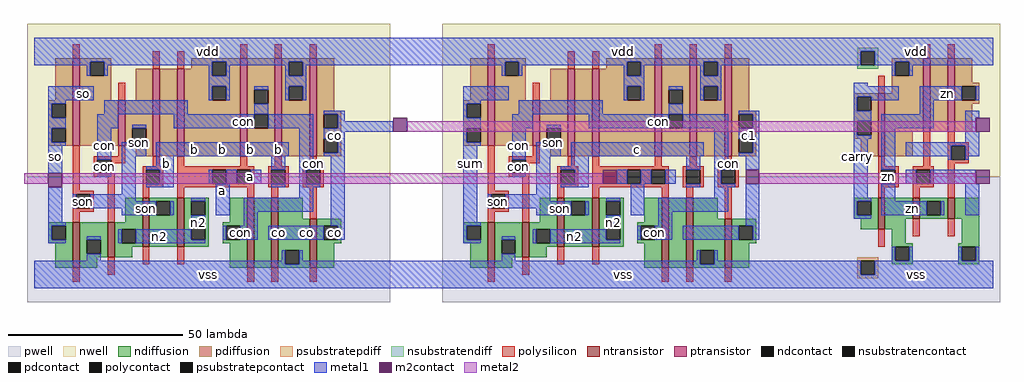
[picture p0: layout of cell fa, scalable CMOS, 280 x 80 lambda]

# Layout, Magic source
magic
tech scmos
<< pwell >>
rect 0 0 104 36
rect 119 0 279 36
<< nwell >>
rect 0 36 104 80
rect 119 36 279 80
<< polysilicon >>
rect 13 70 15 74
rect 36 67 38 72
rect 43 67 45 72
rect 61 70 63 74
rect 71 70 73 74
rect 81 70 83 74
rect 132 70 134 74
rect 26 58 28 63
rect 13 32 15 45
rect 26 42 28 45
rect 155 67 157 72
rect 162 67 164 72
rect 180 70 182 74
rect 190 70 192 74
rect 200 70 202 74
rect 145 58 147 63
rect 19 41 28 42
rect 19 37 20 41
rect 24 40 28 41
rect 24 37 25 40
rect 36 39 38 42
rect 43 39 45 42
rect 61 39 63 42
rect 71 39 73 42
rect 81 39 83 42
rect 19 36 25 37
rect 13 31 19 32
rect 13 27 14 31
rect 18 27 19 31
rect 13 26 19 27
rect 13 23 15 26
rect 23 23 25 36
rect 33 38 39 39
rect 33 34 34 38
rect 38 34 39 38
rect 33 33 39 34
rect 43 38 65 39
rect 43 34 53 38
rect 57 34 60 38
rect 64 34 65 38
rect 43 33 65 34
rect 69 38 75 39
rect 69 34 70 38
rect 74 34 75 38
rect 69 33 75 34
rect 79 38 85 39
rect 79 34 80 38
rect 84 34 85 38
rect 79 33 85 34
rect 33 30 35 33
rect 43 30 45 33
rect 63 30 65 33
rect 70 30 72 33
rect 13 6 15 10
rect 23 8 25 13
rect 33 11 35 16
rect 43 11 45 16
rect 81 24 83 33
rect 132 32 134 45
rect 145 42 147 45
rect 257 70 259 74
rect 264 70 266 74
rect 244 60 246 65
rect 138 41 147 42
rect 138 37 139 41
rect 143 40 147 41
rect 143 37 144 40
rect 155 39 157 42
rect 162 39 164 42
rect 180 39 182 42
rect 190 39 192 42
rect 200 39 202 42
rect 244 39 246 42
rect 257 39 259 49
rect 264 46 266 49
rect 264 45 270 46
rect 264 41 265 45
rect 269 41 270 45
rect 264 40 270 41
rect 138 36 144 37
rect 132 31 138 32
rect 132 27 133 31
rect 137 27 138 31
rect 132 26 138 27
rect 132 23 134 26
rect 142 23 144 36
rect 152 38 158 39
rect 152 34 153 38
rect 157 34 158 38
rect 152 33 158 34
rect 162 38 184 39
rect 162 34 172 38
rect 176 34 179 38
rect 183 34 184 38
rect 162 33 184 34
rect 188 38 194 39
rect 188 34 189 38
rect 193 34 194 38
rect 188 33 194 34
rect 198 38 204 39
rect 198 34 199 38
rect 203 34 204 38
rect 198 33 204 34
rect 244 38 250 39
rect 244 34 245 38
rect 249 34 250 38
rect 244 33 250 34
rect 254 38 260 39
rect 254 34 255 38
rect 259 34 260 38
rect 254 33 260 34
rect 152 30 154 33
rect 162 30 164 33
rect 182 30 184 33
rect 189 30 191 33
rect 63 6 65 10
rect 70 6 72 10
rect 81 6 83 10
rect 132 6 134 10
rect 142 8 144 13
rect 152 11 154 16
rect 162 11 164 16
rect 200 24 202 33
rect 244 30 246 33
rect 254 30 256 33
rect 264 30 266 40
rect 244 16 246 21
rect 254 19 256 24
rect 264 19 266 24
rect 182 6 184 10
rect 189 6 191 10
rect 200 6 202 10
<< ndiffusion >>
rect 28 23 33 30
rect 6 22 13 23
rect 6 18 7 22
rect 11 18 13 22
rect 6 17 13 18
rect 8 10 13 17
rect 15 18 23 23
rect 15 14 17 18
rect 21 14 23 18
rect 15 13 23 14
rect 25 21 33 23
rect 25 17 27 21
rect 31 17 33 21
rect 25 16 33 17
rect 35 29 43 30
rect 35 25 37 29
rect 41 25 43 29
rect 35 16 43 25
rect 45 29 52 30
rect 45 25 47 29
rect 51 25 52 29
rect 45 22 52 25
rect 58 23 63 30
rect 45 18 47 22
rect 51 18 52 22
rect 45 16 52 18
rect 56 22 63 23
rect 56 18 57 22
rect 61 18 63 22
rect 56 17 63 18
rect 25 13 30 16
rect 15 10 20 13
rect 58 10 63 17
rect 65 10 70 30
rect 72 24 79 30
rect 72 15 81 24
rect 72 11 74 15
rect 78 11 81 15
rect 72 10 81 11
rect 83 22 90 24
rect 147 23 152 30
rect 83 18 85 22
rect 89 18 90 22
rect 83 17 90 18
rect 125 22 132 23
rect 125 18 126 22
rect 130 18 132 22
rect 125 17 132 18
rect 83 10 88 17
rect 127 10 132 17
rect 134 18 142 23
rect 134 14 136 18
rect 140 14 142 18
rect 134 13 142 14
rect 144 21 152 23
rect 144 17 146 21
rect 150 17 152 21
rect 144 16 152 17
rect 154 29 162 30
rect 154 25 156 29
rect 160 25 162 29
rect 154 16 162 25
rect 164 29 171 30
rect 164 25 166 29
rect 170 25 171 29
rect 164 22 171 25
rect 177 23 182 30
rect 164 18 166 22
rect 170 18 171 22
rect 164 16 171 18
rect 175 22 182 23
rect 175 18 176 22
rect 180 18 182 22
rect 175 17 182 18
rect 144 13 149 16
rect 134 10 139 13
rect 177 10 182 17
rect 184 10 189 30
rect 191 24 198 30
rect 237 29 244 30
rect 237 25 238 29
rect 242 25 244 29
rect 237 24 244 25
rect 191 15 200 24
rect 191 11 193 15
rect 197 11 200 15
rect 191 10 200 11
rect 202 22 209 24
rect 202 18 204 22
rect 208 18 209 22
rect 239 21 244 24
rect 246 24 254 30
rect 256 29 264 30
rect 256 25 258 29
rect 262 25 264 29
rect 256 24 264 25
rect 266 24 273 30
rect 246 21 252 24
rect 202 17 209 18
rect 202 10 207 17
rect 248 17 252 21
rect 268 17 273 24
rect 248 16 254 17
rect 248 12 249 16
rect 253 12 254 16
rect 248 11 254 12
rect 267 16 273 17
rect 267 12 268 16
rect 272 12 273 16
rect 267 11 273 12
<< pdiffusion >>
rect 8 58 13 70
rect 6 57 13 58
rect 6 53 7 57
rect 11 53 13 57
rect 6 50 13 53
rect 6 46 7 50
rect 11 46 13 50
rect 6 45 13 46
rect 15 69 24 70
rect 15 65 18 69
rect 22 65 24 69
rect 47 69 61 70
rect 47 67 53 69
rect 15 58 24 65
rect 31 58 36 67
rect 15 45 26 58
rect 28 50 36 58
rect 28 46 30 50
rect 34 46 36 50
rect 28 45 36 46
rect 31 42 36 45
rect 38 42 43 67
rect 45 65 53 67
rect 57 65 61 69
rect 45 62 61 65
rect 45 58 53 62
rect 57 58 61 62
rect 45 42 61 58
rect 63 61 71 70
rect 63 57 65 61
rect 69 57 71 61
rect 63 54 71 57
rect 63 50 65 54
rect 69 50 71 54
rect 63 42 71 50
rect 73 69 81 70
rect 73 65 75 69
rect 79 65 81 69
rect 73 62 81 65
rect 73 58 75 62
rect 79 58 81 62
rect 73 42 81 58
rect 83 55 88 70
rect 127 58 132 70
rect 125 57 132 58
rect 83 54 90 55
rect 83 50 85 54
rect 89 50 90 54
rect 83 47 90 50
rect 83 43 85 47
rect 89 43 90 47
rect 125 53 126 57
rect 130 53 132 57
rect 125 50 132 53
rect 125 46 126 50
rect 130 46 132 50
rect 125 45 132 46
rect 134 69 143 70
rect 134 65 137 69
rect 141 65 143 69
rect 166 69 180 70
rect 166 67 172 69
rect 134 58 143 65
rect 150 58 155 67
rect 134 45 145 58
rect 147 50 155 58
rect 147 46 149 50
rect 153 46 155 50
rect 147 45 155 46
rect 83 42 90 43
rect 150 42 155 45
rect 157 42 162 67
rect 164 65 172 67
rect 176 65 180 69
rect 164 62 180 65
rect 164 58 172 62
rect 176 58 180 62
rect 164 42 180 58
rect 182 61 190 70
rect 182 57 184 61
rect 188 57 190 61
rect 182 54 190 57
rect 182 50 184 54
rect 188 50 190 54
rect 182 42 190 50
rect 192 69 200 70
rect 192 65 194 69
rect 198 65 200 69
rect 192 62 200 65
rect 192 58 194 62
rect 198 58 200 62
rect 192 42 200 58
rect 202 55 207 70
rect 248 69 257 70
rect 248 65 249 69
rect 253 65 257 69
rect 248 60 257 65
rect 237 59 244 60
rect 237 55 238 59
rect 242 55 244 59
rect 202 54 209 55
rect 202 50 204 54
rect 208 50 209 54
rect 202 47 209 50
rect 237 52 244 55
rect 237 48 238 52
rect 242 48 244 52
rect 237 47 244 48
rect 202 43 204 47
rect 208 43 209 47
rect 202 42 209 43
rect 239 42 244 47
rect 246 49 257 60
rect 259 49 264 70
rect 266 63 271 70
rect 266 62 273 63
rect 266 58 268 62
rect 272 58 273 62
rect 266 57 273 58
rect 266 49 271 57
rect 246 42 254 49
<< metal1 >>
rect 2 72 277 76
rect 2 69 239 72
rect 2 68 18 69
rect 17 65 18 68
rect 22 68 53 69
rect 22 65 23 68
rect 52 65 53 68
rect 57 68 75 69
rect 57 65 58 68
rect 52 62 58 65
rect 74 65 75 68
rect 79 68 137 69
rect 79 65 80 68
rect 136 65 137 68
rect 141 68 172 69
rect 141 65 142 68
rect 171 65 172 68
rect 176 68 194 69
rect 176 65 177 68
rect 74 62 80 65
rect 171 62 177 65
rect 193 65 194 68
rect 198 68 239 69
rect 243 69 277 72
rect 243 68 249 69
rect 198 65 199 68
rect 248 65 249 68
rect 253 68 277 69
rect 253 65 254 68
rect 193 62 199 65
rect 6 58 19 62
rect 52 58 53 62
rect 57 58 58 62
rect 65 61 69 62
rect 6 57 11 58
rect 6 53 7 57
rect 22 54 46 58
rect 74 58 75 62
rect 79 58 80 62
rect 125 58 138 62
rect 171 58 172 62
rect 176 58 177 62
rect 184 61 188 62
rect 65 54 69 57
rect 125 57 130 58
rect 85 54 91 55
rect 6 50 11 53
rect 6 46 7 50
rect 6 45 11 46
rect 20 50 26 54
rect 30 50 34 51
rect 42 50 65 54
rect 69 50 82 54
rect 6 37 10 45
rect 20 41 24 50
rect 20 36 24 37
rect 27 42 34 46
rect 37 42 75 46
rect 6 23 10 33
rect 27 31 31 42
rect 37 39 42 42
rect 34 38 42 39
rect 70 38 74 42
rect 38 34 42 38
rect 52 34 53 38
rect 57 34 60 38
rect 64 34 67 38
rect 34 33 42 34
rect 13 27 14 31
rect 18 29 31 31
rect 47 29 51 30
rect 18 27 37 29
rect 27 25 37 27
rect 41 25 42 29
rect 54 25 58 34
rect 70 33 74 34
rect 78 39 82 50
rect 89 52 91 54
rect 125 53 126 57
rect 141 54 165 58
rect 193 58 194 62
rect 198 58 199 62
rect 237 62 241 63
rect 237 59 250 62
rect 184 54 188 57
rect 237 55 238 59
rect 242 58 250 59
rect 256 58 268 62
rect 272 58 273 62
rect 204 54 210 55
rect 89 50 105 52
rect 85 49 105 50
rect 125 50 130 53
rect 85 47 91 49
rect 89 43 91 47
rect 85 42 91 43
rect 78 38 84 39
rect 78 34 80 38
rect 78 33 84 34
rect 78 30 82 33
rect 62 26 82 30
rect 6 22 11 23
rect 6 18 7 22
rect 47 22 51 25
rect 62 22 66 26
rect 87 22 91 42
rect 6 17 11 18
rect 17 18 21 19
rect 26 17 27 21
rect 31 18 47 21
rect 56 18 57 22
rect 61 18 66 22
rect 69 18 85 22
rect 89 18 91 22
rect 125 46 126 50
rect 125 45 130 46
rect 139 50 145 54
rect 149 50 153 51
rect 161 50 184 54
rect 188 50 201 54
rect 125 23 129 45
rect 139 41 143 50
rect 139 36 143 37
rect 146 42 153 46
rect 156 42 194 46
rect 146 31 150 42
rect 156 39 161 42
rect 153 38 161 39
rect 189 38 193 42
rect 157 34 161 38
rect 169 34 172 38
rect 176 34 179 38
rect 183 34 186 38
rect 153 33 161 34
rect 132 27 133 31
rect 137 29 150 31
rect 166 29 170 30
rect 137 27 156 29
rect 146 25 156 27
rect 160 25 161 29
rect 173 25 177 34
rect 189 33 193 34
rect 197 39 201 50
rect 208 50 210 54
rect 204 47 210 50
rect 208 43 210 47
rect 204 42 210 43
rect 197 38 203 39
rect 197 34 199 38
rect 197 33 203 34
rect 206 38 210 42
rect 197 30 201 33
rect 181 26 201 30
rect 125 22 130 23
rect 125 18 126 22
rect 166 22 170 25
rect 181 22 185 26
rect 206 22 210 34
rect 237 52 242 55
rect 256 54 260 58
rect 237 48 238 52
rect 237 47 242 48
rect 245 50 260 54
rect 269 53 273 55
rect 237 30 241 47
rect 245 38 249 50
rect 269 49 272 53
rect 269 46 273 49
rect 252 45 273 46
rect 252 42 265 45
rect 264 41 265 42
rect 269 42 273 45
rect 269 41 270 42
rect 252 34 255 38
rect 259 34 272 38
rect 237 29 242 30
rect 237 25 238 29
rect 245 29 249 34
rect 245 25 258 29
rect 262 25 263 29
rect 269 25 273 34
rect 237 24 242 25
rect 31 17 51 18
rect 125 17 130 18
rect 136 18 140 19
rect 17 12 21 14
rect 73 12 74 15
rect 2 11 74 12
rect 78 12 79 15
rect 145 17 146 21
rect 150 18 166 21
rect 175 18 176 22
rect 180 18 185 22
rect 188 18 204 22
rect 208 18 210 22
rect 150 17 170 18
rect 136 12 140 14
rect 192 12 193 15
rect 78 11 193 12
rect 197 12 198 15
rect 248 12 249 16
rect 253 12 254 16
rect 267 12 268 16
rect 272 12 273 16
rect 197 11 239 12
rect 2 8 239 11
rect 243 8 277 12
rect 2 4 277 8
<< metal2 >>
rect 109 49 272 52
rect -1 34 6 37
rect 10 34 165 37
rect 210 34 272 37
<< ntransistor >>
rect 13 10 15 23
rect 23 13 25 23
rect 33 16 35 30
rect 43 16 45 30
rect 63 10 65 30
rect 70 10 72 30
rect 81 10 83 24
rect 132 10 134 23
rect 142 13 144 23
rect 152 16 154 30
rect 162 16 164 30
rect 182 10 184 30
rect 189 10 191 30
rect 200 10 202 24
rect 244 21 246 30
rect 254 24 256 30
rect 264 24 266 30
<< ptransistor >>
rect 13 45 15 70
rect 26 45 28 58
rect 36 42 38 67
rect 43 42 45 67
rect 61 42 63 70
rect 71 42 73 70
rect 81 42 83 70
rect 132 45 134 70
rect 145 45 147 58
rect 155 42 157 67
rect 162 42 164 67
rect 180 42 182 70
rect 190 42 192 70
rect 200 42 202 70
rect 244 42 246 60
rect 257 49 259 70
rect 264 49 266 70
<< polycontact >>
rect 20 37 24 41
rect 14 27 18 31
rect 34 34 38 38
rect 53 34 57 38
rect 60 34 64 38
rect 70 34 74 38
rect 80 34 84 38
rect 139 37 143 41
rect 265 41 269 45
rect 133 27 137 31
rect 153 34 157 38
rect 172 34 176 38
rect 179 34 183 38
rect 189 34 193 38
rect 199 34 203 38
rect 245 34 249 38
rect 255 34 259 38
<< ndcontact >>
rect 7 18 11 22
rect 17 14 21 18
rect 27 17 31 21
rect 37 25 41 29
rect 47 25 51 29
rect 47 18 51 22
rect 57 18 61 22
rect 74 11 78 15
rect 85 18 89 22
rect 126 18 130 22
rect 136 14 140 18
rect 146 17 150 21
rect 156 25 160 29
rect 166 25 170 29
rect 166 18 170 22
rect 176 18 180 22
rect 238 25 242 29
rect 193 11 197 15
rect 204 18 208 22
rect 258 25 262 29
rect 249 12 253 16
rect 268 12 272 16
<< pdcontact >>
rect 7 53 11 57
rect 7 46 11 50
rect 18 65 22 69
rect 30 46 34 50
rect 53 65 57 69
rect 53 58 57 62
rect 65 57 69 61
rect 65 50 69 54
rect 75 65 79 69
rect 75 58 79 62
rect 85 50 89 54
rect 85 43 89 47
rect 126 53 130 57
rect 126 46 130 50
rect 137 65 141 69
rect 149 46 153 50
rect 172 65 176 69
rect 172 58 176 62
rect 184 57 188 61
rect 184 50 188 54
rect 194 65 198 69
rect 194 58 198 62
rect 249 65 253 69
rect 238 55 242 59
rect 204 50 208 54
rect 238 48 242 52
rect 204 43 208 47
rect 268 58 272 62
<< m2contact >>
rect 6 33 10 37
rect 105 49 109 53
rect 165 34 169 38
rect 206 34 210 38
rect 272 49 276 53
rect 272 34 276 38
<< psubstratepcontact >>
rect 239 8 243 12
<< nsubstratencontact >>
rect 239 68 243 72
<< psubstratepdiff >>
rect 238 12 244 13
rect 238 8 239 12
rect 243 8 244 12
rect 238 7 244 8
<< nsubstratendiff >>
rect 238 72 244 73
rect 238 68 239 72
rect 243 68 244 72
rect 238 67 244 68
<< labels >>
rlabel polycontact 16 29 16 29 6 son
rlabel polycontact 22 39 22 39 6 con
rlabel polysilicon 82 40 82 40 6 con
rlabel metal1 16 60 16 60 6 so
rlabel metal1 22 29 22 29 6 son
rlabel metal1 32 46 32 46 6 son
rlabel metal1 22 45 22 45 6 con
rlabel metal1 52 8 52 8 6 vss
rlabel metal1 49 23 49 23 6 n2
rlabel metal1 38 19 38 19 6 n2
rlabel metal1 34 27 34 27 6 son
rlabel metal1 56 32 56 32 6 a
rlabel metal1 40 40 40 40 6 b
rlabel metal1 56 44 56 44 6 b
rlabel metal1 48 44 48 44 6 b
rlabel metal1 52 72 52 72 6 vdd
rlabel metal1 72 20 72 20 6 co
rlabel metal1 80 20 80 20 6 co
rlabel metal1 61 20 61 20 6 con
rlabel metal1 64 36 64 36 6 a
rlabel metal1 64 44 64 44 6 b
rlabel metal1 72 44 72 44 6 b
rlabel metal1 80 40 80 40 6 con
rlabel metal1 62 52 62 52 6 con
rlabel metal1 67 56 67 56 6 con
rlabel ndcontact 88 20 88 20 6 co
rlabel metal1 88 48 88 48 6 co
rlabel polycontact 135 29 135 29 6 son
rlabel polycontact 141 39 141 39 6 con
rlabel polysilicon 201 40 201 40 6 con
rlabel metal1 141 29 141 29 6 son
rlabel metal1 151 46 151 46 6 son
rlabel metal1 141 45 141 45 6 con
rlabel metal1 171 8 171 8 6 vss
rlabel metal1 168 23 168 23 6 n2
rlabel metal1 157 19 157 19 6 n2
rlabel metal1 153 27 153 27 6 son
rlabel metal1 171 72 171 72 6 vdd
rlabel metal1 180 20 180 20 6 con
rlabel metal1 199 40 199 40 6 con
rlabel metal1 181 52 181 52 6 con
rlabel metal1 186 56 186 56 6 con
rlabel metal1 175 44 175 44 1 c
rlabel metal1 207 48 207 48 1 c1
rlabel polycontact 247 36 247 36 6 zn
rlabel metal1 247 39 247 39 6 zn
rlabel metal1 255 8 255 8 6 vss
rlabel metal1 254 27 254 27 6 zn
rlabel metal1 255 72 255 72 6 vdd
rlabel metal1 264 60 264 60 6 zn
rlabel metal1 238 42 238 42 1 carry
rlabel metal1 127 40 127 40 1 sum
rlabel metal1 8 42 8 42 1 so
<< end >>
